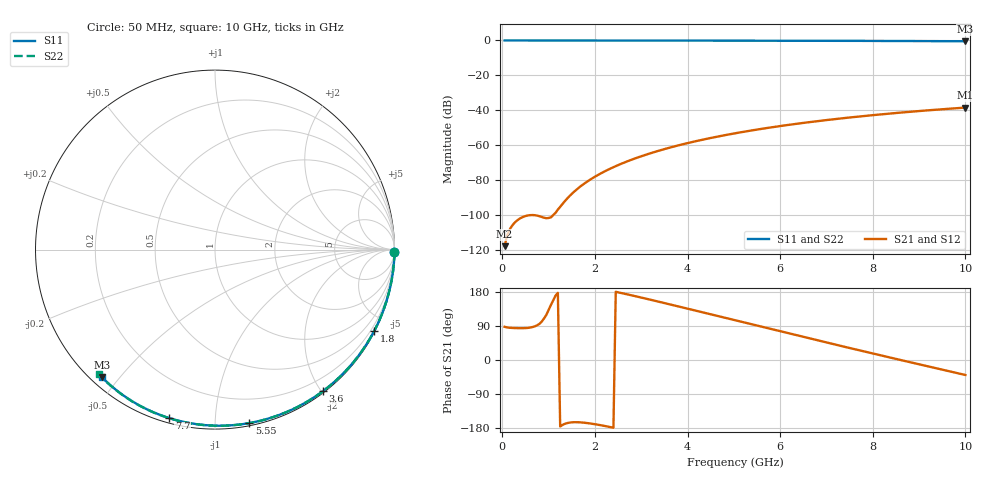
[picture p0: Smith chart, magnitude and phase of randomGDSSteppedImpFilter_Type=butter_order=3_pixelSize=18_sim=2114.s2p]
! freq	dB(S11)	phase(S11)	dB(S12)	phase(S12)
!  dB(S21)	phase(S21)	dB(S22)	phase(S22)
!S-par simulation data
#  GHz  S  DB  R 50
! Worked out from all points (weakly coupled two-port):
!   200 points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, 50 MHz to 10 GHz, reference 50 ohm
!   highest |S21| = -38.39 dB at 10 GHz (marker M1); lowest = -117.6 dB at 50 MHz (marker M2)
!   lowest |S11| = -0.4 dB at 10 GHz (marker M3), VSWR 38.97, Z = 1.54 - j22.5 ohm
!   |S11| at or under -10 dB: nowhere
!   |S22| runs from -0.4 to 0.0 dB; largest |S21 - S12| = 0
!   S11 on the Smith chart (normalised r, x): 50 MHz: open; 1.8 GHz: 0.04, -4.17; 3.6 GHz: 0.02, -2.02; 5.55 GHz: 0.02, -1.22; 7.7 GHz: 0.02, -0.77; 10 GHz: 0.03, -0.45
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0.05  -0.00 -0.8  -117.63 87.5  -117.63 87.5  -0.00 -0.8
0.45  -0.01 -6.8  -100.88 83.9  -100.88 83.9  -0.01 -6.9
0.9  -0.02 -13.6  -101.34 109.3  -101.34 109.3  -0.02 -13.8
1.75  -0.03 -26.3  -82.23 -165.2  -82.23 -165.2  -0.03 -26.6
1.8  -0.03 -27.0  -81.28 -165.9  -81.28 -165.9  -0.03 -27.3
1.85  -0.04 -27.7  -80.39 -166.6  -80.39 -166.6  -0.04 -28.0
1.9  -0.04 -28.5  -79.53 -167.5  -79.53 -167.5  -0.04 -28.8
2.05  -0.04 -30.7  -77.15 -170.4  -77.15 -170.4  -0.04 -31.0
2.25  -0.04 -33.6  -74.34 -175.0  -74.34 -175.0  -0.04 -33.9
2.65  -0.05 -39.3  -69.63 174.6  -69.63 174.6  -0.05 -39.8
3  -0.06 -44.3  -66.22 164.8  -66.22 164.8  -0.06 -44.8
3.4  -0.07 -50.0  -62.88 153.2  -62.88 153.2  -0.07 -50.5
3.6  -0.07 -52.8  -61.39 147.4  -61.39 147.4  -0.07 -53.3
4.3  -0.09 -62.3  -56.89 126.5  -56.89 126.5  -0.09 -63.0
5.05  -0.11 -72.3  -52.97 104.1  -52.97 104.1  -0.11 -73.1
5.55  -0.13 -78.8  -50.74 89.1  -50.74 89.1  -0.13 -79.6
6.1  -0.15 -85.7  -48.57 72.8  -48.57 72.8  -0.15 -86.7
6.7  -0.18 -93.2  -46.48 55.0  -46.48 55.0  -0.18 -94.1
7.7  -0.24 -105.2  -43.51 25.9  -43.51 25.9  -0.24 -106.3
8.35  -0.29 -112.7  -41.85 7.2  -41.85 7.2  -0.29 -113.9
9.15  -0.36 -121.9  -40.05 -15.6  -40.05 -15.6  -0.36 -123.2
10  -0.45 -131.5  -38.39 -39.6  -38.39 -39.6  -0.45 -132.9
